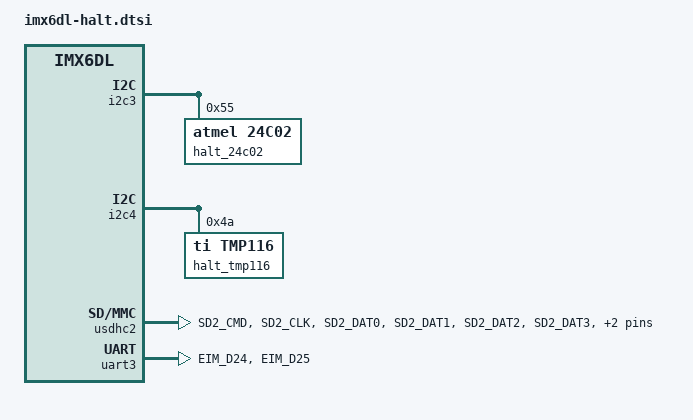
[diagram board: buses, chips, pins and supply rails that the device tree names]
/*
 * Copyright 2018 FLIR Systems.
 *
 * The code contained herein is licensed under the GNU General Public
 * License. You may obtain a copy of the GNU General Public License
 * Version 2 or later at the following locations:
 *
 * http://www.opensource.org/licenses/gpl-license.html
 * http://www.gnu.org/copyleft/gpl.html
 */

#include <dt-bindings/input/input.h>
/* This file represents halt-a */

&i2c3 {
	/* ID-EEPROM */
	halt_24c02: halt_24c02@55 {
		compatible = "atmel,24c02";
		reg = <0x55>;
		pagesize = <16>;
	};
};

&i2c4 {
	/* TempSensor */
	halt_tmp116: halt_tmp116@4a {
		compatible = "ti,tmp116";
		reg = <0x4a>;
	};
};

/*SD-card*/
&usdhc2 {
	pinctrl-names = "default", "state_100mhz", "state_200mhz";
	pinctrl-0 = <&pinctrl_usdhc2>;
	pinctrl-1 = <&pinctrl_usdhc2_100mhz>;
	pinctrl-2 = <&pinctrl_usdhc2_200mhz>;
	cd-gpios = <&gpio2 5 GPIO_ACTIVE_HIGH>;
	max-frequency = <50000000>;
	no-1-8-v;
	status = "okay";
};

/* RS232/RS485 */
&uart3 {
	pinctrl-names = "default";
	pinctrl-0 = <&pinctrl_uart3>;
	status = "okay";
};

&iomuxc {
	imx6dl-ec {
		pinctrl_usdhc2: usdhc2grp {
			fsl,pins = <
				/* Speed=150MHz 47Kohm pull up DSE=5 */
				MX6QDL_PAD_SD2_CMD__SD2_CMD	0x17069
				MX6QDL_PAD_SD2_CLK__SD2_CLK	0x10069
				MX6QDL_PAD_SD2_DAT0__SD2_DATA0	0x17069
				MX6QDL_PAD_SD2_DAT1__SD2_DATA1	0x17069
				MX6QDL_PAD_SD2_DAT2__SD2_DATA2	0x17069
				MX6QDL_PAD_SD2_DAT3__SD2_DATA3	0x17069
				MX6QDL_PAD_NANDF_D5__GPIO2_IO05	0x1b010
			>;
		};

		pinctrl_usdhc2_100mhz: usdhc2grp100mhz {
			fsl,pins = <
				MX6QDL_PAD_SD2_CMD__SD2_CMD    	0x170f9
				MX6QDL_PAD_SD2_CLK__SD2_CLK    	0x100f9
				MX6QDL_PAD_SD2_DAT0__SD2_DATA0 	0x170f9
				MX6QDL_PAD_SD2_DAT1__SD2_DATA1 	0x170f9
				MX6QDL_PAD_SD2_DAT2__SD2_DATA2 	0x170f9
				MX6QDL_PAD_SD2_DAT3__SD2_DATA3 	0x170f9
				MX6QDL_PAD_NANDF_D5__GPIO2_IO05	0x1b010
			>;
		};

		pinctrl_usdhc2_200mhz: usdhc2grp200mhz {
			fsl,pins = <
				MX6QDL_PAD_SD2_CMD__SD2_CMD    	0x170f9
				MX6QDL_PAD_SD2_CLK__SD2_CLK    	0x100f9
				MX6QDL_PAD_SD2_DAT0__SD2_DATA0 	0x170f9
				MX6QDL_PAD_SD2_DAT1__SD2_DATA1 	0x170f9
				MX6QDL_PAD_SD2_DAT2__SD2_DATA2 	0x170f9
				MX6QDL_PAD_SD2_DAT3__SD2_DATA3 	0x170f9
				MX6QDL_PAD_NANDF_D5__GPIO2_IO05	0x1b010
			>;
		};

		pinctrl_uart3: uart3grp {
			fsl,pins = <
				MX6QDL_PAD_EIM_D24__UART3_TX_DATA	0x1b0b1
				MX6QDL_PAD_EIM_D25__UART3_RX_DATA	0x1b0b1
			>;
		};
	};
};

/ {
        aliases {
        /* Add sdcard0 entry in hawk dtb only - indicates sdcard support to systemd */
                  sdcard0 = &usdhc2;
        };
};
